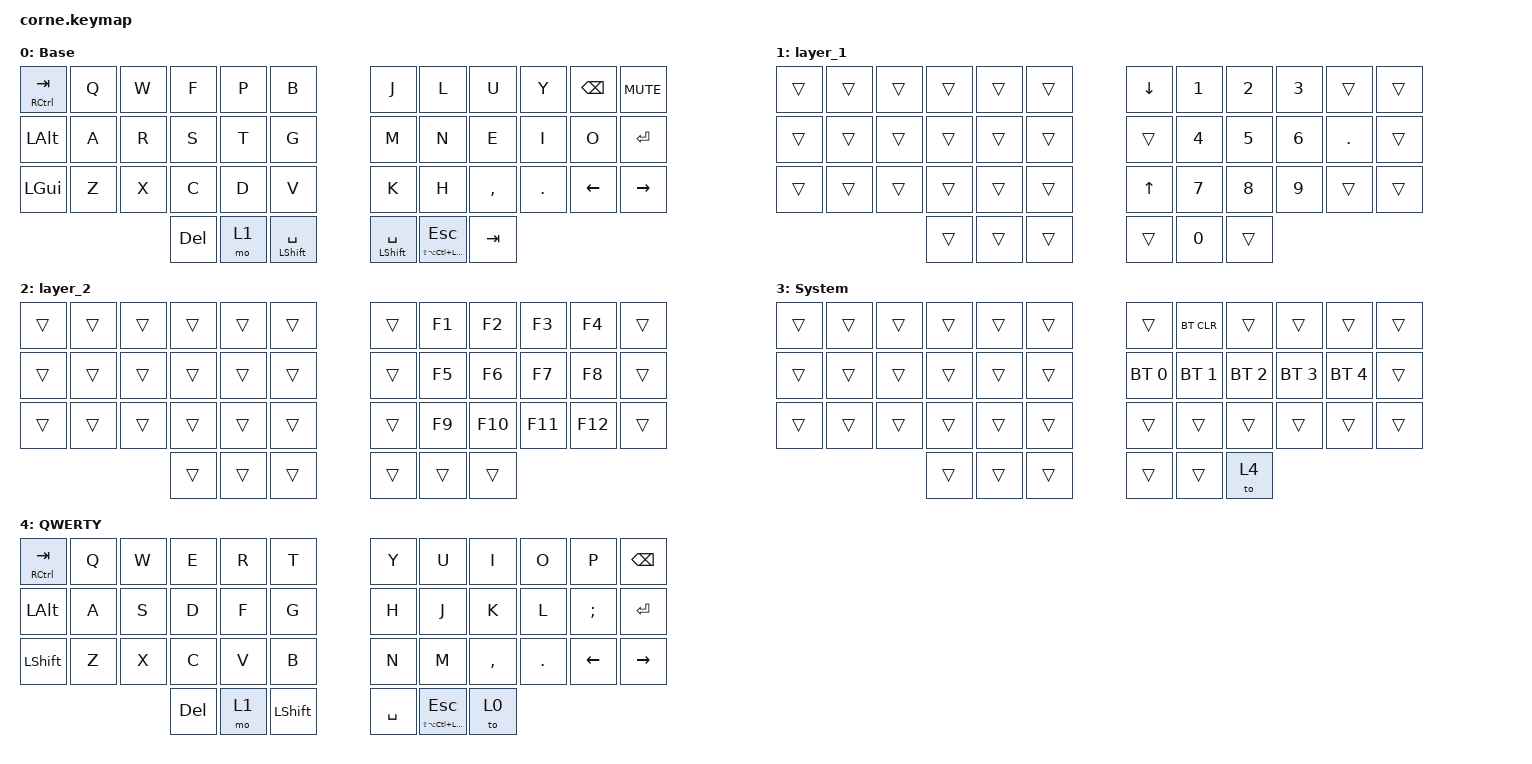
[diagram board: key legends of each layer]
/*
 * Copyright (c) 2020 The ZMK Contributors
 *
 * SPDX-License-Identifier: MIT
 */

#include <behaviors.dtsi>
#include <dt-bindings/zmk/bt.h>
#include <dt-bindings/zmk/keys.h>

/ {
    combos {
        compatible = "zmk,combos";

        Caps {
            bindings = <&kp CAPSLOCK>;
            key-positions = <16 17>;
        };

        Fn_Layer {
            bindings = <&mo 2>;
            key-positions = <1 2>;
        };

        Bluetooth_Layer {
            bindings = <&mo 3>;
            key-positions = <16 15 2 1>;
        };

        Colon {
            bindings = <&kp COLON>;
            key-positions = <21 19>;
            timeout-ms = <35>;
        };

        SemiColon {
            bindings = <&kp SEMICOLON>;
            key-positions = <19 20>;
            timeout-ms = <35>;
        };

        Apostrophe {
            bindings = <&kp SQT>;
            key-positions = <8 21>;
            timeout-ms = <35>;
        };

        Quote {
            bindings = <&kp DOUBLE_QUOTES>;
            key-positions = <21 7>;
            timeout-ms = <35>;
        };

        Equal {
            bindings = <&kp EQUAL>;
            key-positions = <20 21>;
            timeout-ms = <35>;
        };

        Underscore {
            bindings = <&kp UNDERSCORE>;
            key-positions = <31 30>;
            timeout-ms = <35>;
        };

        Minus {
            bindings = <&kp MINUS>;
            key-positions = <19 18>;
            timeout-ms = <35>;
        };

        Plus {
            bindings = <&kp PLUS>;
            key-positions = <18 21>;
            timeout-ms = <35>;
        };

        Tab {
            bindings = <&kp TAB>;
            key-positions = <4 3>;
            timeout-ms = <35>;
        };

        FwdSlash {
            bindings = <&kp SLASH>;
            key-positions = <31 20>;
            timeout-ms = <35>;
        };

        BackSlash {
            bindings = <&kp BACKSLASH>;
            key-positions = <19 32>;
        };

        Umbrella {
            bindings = <&kp CARET>;
            key-positions = <19 8 21>;
            timeout-ms = <35>;
        };

        Smaller {
            bindings = <&kp LESS_THAN>;
            key-positions = <19 8>;
            timeout-ms = <35>;
        };

        Larger {
            bindings = <&kp GREATER_THAN>;
            key-positions = <7 20>;
            timeout-ms = <35>;
        };

        VerticalLink {
            bindings = <&kp PIPE>;
            key-positions = <8 19 41>;
        };

        Gay {
            bindings = <&kp TILDE>;
            key-positions = <19 10>;
        };

        Grave {
            bindings = <&kp GRAVE>;
            key-positions = <6 19>;
        };

        Percent {
            bindings = <&kp PERCENT>;
            key-positions = <7 33>;
        };

        Exclamation {
            bindings = <&kp EXCLAMATION>;
            key-positions = <7 8 21>;
        };

        QuestionMark {
            bindings = <&kp QUESTION>;
            key-positions = <19 20 9>;
        };

        Money {
            bindings = <&kp DOLLAR>;
            key-positions = <31 32 21>;
        };

        At {
            bindings = <&kp AT_SIGN>;
            key-positions = <7 20 21>;
        };

        Asterisk {
            bindings = <&kp ASTERISK>;
            key-positions = <30 31 32>;
        };

        And-Ampersand {
            bindings = <&kp AMPERSAND>;
            key-positions = <20 18>;
        };

        Hash {
            bindings = <&kp HASH>;
            key-positions = <6 7 8>;
        };

        OpenSquareBrac {
            bindings = <&kp LEFT_BRACKET>;
            key-positions = <39 7>;
        };

        OpenParen {
            bindings = <&kp LEFT_PARENTHESIS>;
            key-positions = <39 19>;
        };

        OpenCurlyBrack {
            bindings = <&kp LEFT_BRACE>;
            key-positions = <39 31>;
        };

        CloseSquareBrac {
            bindings = <&kp RIGHT_BRACKET>;
            key-positions = <39 8>;
        };

        CloseParen {
            bindings = <&kp RIGHT_PARENTHESIS>;
            key-positions = <39 20>;
        };

        CloseCurlyBrac {
            bindings = <&kp RIGHT_BRACE>;
            key-positions = <39 32>;
        };
    };

    behaviors {
        homerow_mod: homerow_mod {
            compatible = "zmk,behavior-hold-tap";
            label = "HOMEROW_MOD";
            bindings = <&kp>, <&kp>;

            #binding-cells = <2>;
            tapping-term-ms = <175>;
            flavor = "hold-preferred";
        };
    };

    keymap {
        compatible = "zmk,keymap";

        default_layer {
            // -----------------------------------------------------------------------------------------
            // |  TAB |  Q  |  W  |  E  |  R  |  T  |   |  Y  |  U   |  I  |  O  |  P  | BKSP |
            // | CTRL |  A  |  S  |  D  |  F  |  G  |   |  H  |  J   |  K  |  L  |  ;  |  '   |
            // | SHFT |  Z  |  X  |  C  |  V  |  B  |   |  N  |  M   |  ,  |  .  |  /  | ESC  |
            //                    | GUI | LWR | SPC |   | ENT | RSE  | ALT |

            display-name = "Base";
            bindings = <
&homerow_mod RIGHT_CONTROL TAB  &kp Q  &kp W  &kp F       &kp P  &kp B                            &kp J                          &kp L                                     &kp U      &kp Y       &kp BACKSPACE  &kp C_MUTE
&kp LEFT_ALT                    &kp A  &kp R  &kp S       &kp T  &kp G                            &kp M                          &kp N                                     &kp E      &kp I       &kp O          &kp ENTER
&kp LEFT_GUI                    &kp Z  &kp X  &kp C       &kp D  &kp V                            &kp K                          &kp H                                     &kp COMMA  &kp PERIOD  &kp LEFT       &kp RIGHT
                                              &kp DELETE  &mo 1  &homerow_mod LEFT_SHIFT SPACE    &homerow_mod LEFT_SHIFT SPACE  &homerow_mod LS(LA(LC(LEFT_GUI))) ESCAPE  &kp TAB
            >;
        };

        layer_1 {
            bindings = <
&trans  &trans  &trans  &trans  &trans  &trans    &kp DOWN_ARROW  &kp N1  &kp N2  &kp N3  &trans      &trans
&trans  &trans  &trans  &trans  &trans  &trans    &trans          &kp N4  &kp N5  &kp N6  &kp PERIOD  &trans
&trans  &trans  &trans  &trans  &trans  &trans    &kp UP_ARROW    &kp N7  &kp N8  &kp N9  &trans      &trans
                        &trans  &trans  &trans    &trans          &kp N0  &trans
            >;
        };

        layer_2 {
            bindings = <
&trans  &trans  &trans  &trans  &trans  &trans    &trans  &kp F1  &kp F2   &kp F3   &kp F4   &trans
&trans  &trans  &trans  &trans  &trans  &trans    &trans  &kp F5  &kp F6   &kp F7   &kp F8   &trans
&trans  &trans  &trans  &trans  &trans  &trans    &trans  &kp F9  &kp F10  &kp F11  &kp F12  &trans
                        &trans  &trans  &trans    &trans  &trans  &trans
            >;
        };

        layer_3 {
            display-name = "System";
            bindings = <
&trans  &trans  &trans  &trans  &trans  &trans    &trans        &bt BT_CLR    &trans        &trans        &trans        &trans
&trans  &trans  &trans  &trans  &trans  &trans    &bt BT_SEL 0  &bt BT_SEL 1  &bt BT_SEL 2  &bt BT_SEL 3  &bt BT_SEL 4  &trans
&trans  &trans  &trans  &trans  &trans  &trans    &trans        &trans        &trans        &trans        &trans        &trans
                        &trans  &trans  &trans    &trans        &trans        &to 4
            >;
        };

        qwerty_layer {
            display-name = "QWERTY";
            bindings = <
&homerow_mod RIGHT_CONTROL TAB  &kp Q  &kp W  &kp E       &kp R  &kp T             &kp Y      &kp U                                     &kp I      &kp O       &kp P     &kp BACKSPACE
&kp LEFT_ALT                    &kp A  &kp S  &kp D       &kp F  &kp G             &kp H      &kp J                                     &kp K      &kp L       &kp SEMI  &kp ENTER
&kp LEFT_SHIFT                  &kp Z  &kp X  &kp C       &kp V  &kp B             &kp N      &kp M                                     &kp COMMA  &kp PERIOD  &kp LEFT  &kp RIGHT
                                              &kp DELETE  &mo 1  &kp LEFT_SHIFT    &kp SPACE  &homerow_mod LS(LA(LC(LEFT_GUI))) ESCAPE  &to 0
            >;
        };
    };

    conditional_layers {
        compatible = "zmk,conditional-layers";

        hell {
            if-layers = <1 2>;
            then-layer = <3>;
        };
    };
};
